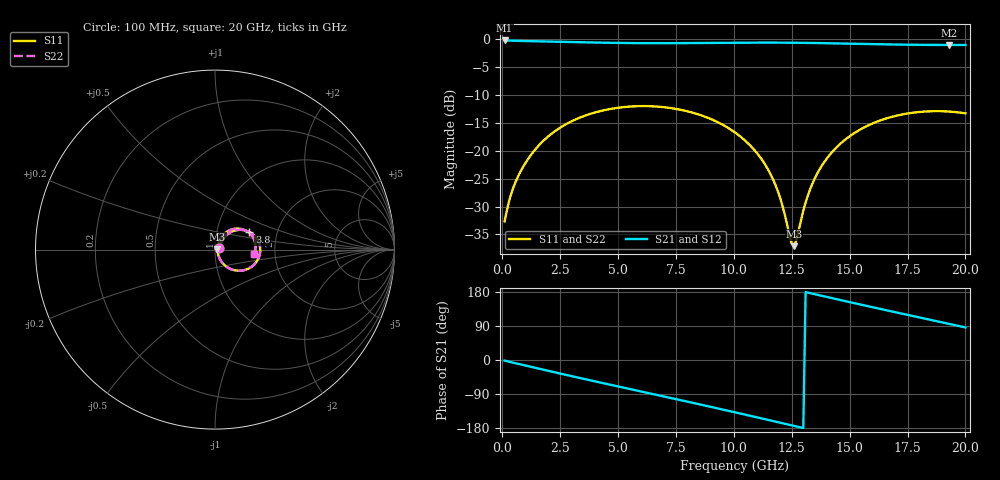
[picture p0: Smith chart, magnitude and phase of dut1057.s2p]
! Touchstone file exported from HFSS 2026.1.0
!  File:  C:/ffzhzh/LocalFiles/Ansys_Project_Files/temp_train_TSV_RDL_1057_1783297581_38704.aedt
!  Generated:  08:35:19 AM Jul  6, 2026
!  Design:  TSV_RDL
!  Project:  temp_train_TSV_RDL_1057_1783297581_38704
! Variables:
!  h_bsmrdl = 2.85um
!  h_ox = 20um
!  h_rdl = 5um
!  h_sub = 52.07um
!  h_tmrdl = 5.79um
!  h_tsv = 52.07um
!  h_via = 3um
!  l_bsmrdl = 980.28um
!  l_sub = 4931.19um
!  l_tmrdl = 362.99um
!  m_sub = 200um
!  pitch = 33.19um
!  r_tsv = 4.89um
!  s_tmrdl = 10um
!  w_bsmrdl = 25.96um
!  w_sub = 500um
!  w_tmrdl = 20.17um
!  x_tsv_center1 = 373.075um
!  x_tsv_center2 = 1379.315um
!  x_tsv_center3 = 1762.475um
!  x_tsv_center4 = 2768.715um
!  x_tsv_center5 = 3151.875um
!  x_tsv_center6 = 4158.115um
# GHz S MA R 50.000000
! Terminal data exported
! Port[1] = TM_RDL1_1_T1
! Port[2] = TM_RDL5_1_T1
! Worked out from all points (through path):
!   200 points, 100 MHz to 20 GHz, reference 50 ohm
!   highest |S21| = -0.19 dB at 100 MHz (marker M1); lowest = -1.0 dB at 19.3 GHz (marker M2)
!   group delay of S21, straight-line fit = 38 ps
!   lowest |S11| = -37.1 dB at 12.6 GHz (marker M3), VSWR 1.03, Z = 51.4 + j0.163 ohm
!   |S11| at or under -10 dB: start of sweep to end of sweep
!   |S22| runs from -37.2 to -12.0 dB; largest |S21 - S12| = 1.6e-14
!   S11 on the Smith chart (normalised r, x): 100 MHz: 1.04, +0.02; 3.8 GHz: 1.44, +0.30; 20 GHz: 1.55, -0.09
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0.1  0.02329 22.8  0.9787 -1.6  0.9787 -1.6  0.02329 22.8
! Gamma 0 0 0 0
! Port Impedance 50 0 50 0
0.5  0.04818 48.0  0.9719 -7.5  0.9719 -7.5  0.04818 48.0
1.3  0.09568 52.0  0.9643 -18.9  0.9643 -18.9  0.09568 52.0
2.3  0.1514 44.2  0.9544 -33.0  0.9544 -33.0  0.1514 44.2
3.5  0.2043 30.7  0.9419 -49.6  0.9419 -49.6  0.2043 30.7
3.8  0.2146 27.2  0.9391 -53.7  0.9391 -53.7  0.2146 27.1
5.3  0.2476 8.9  0.9284 -73.8  0.9284 -73.8  0.2477 8.9
6.8  0.2485 -9.7  0.925 -93.8  0.925 -93.8  0.2485 -9.7
8.4  0.2145 -29.5  0.9285 -115.4  0.9285 -115.4  0.2145 -29.6
10.1  0.1437 -50.1  0.9346 -138.8  0.9346 -138.8  0.1437 -50.2
11  0.09535 -59.3  0.9364 -151.3  0.9364 -151.3  0.0953 -59.5
11.6  0.06079 -62.6  0.9363 -159.8  0.9363 -159.8  0.06073 -62.8
12  0.03772 -59.6  0.9356 -165.4  0.9356 -165.4  0.03763 -59.9
12.5  0.01463 -16.5  0.934 -172.5  0.934 -172.5  0.01444 -16.7
12.6  0.01394 6.5  0.9335 -173.9  0.9335 -173.9  0.01375 6.7
13.1  0.03445 60.2  0.9309 179.1  0.9309 179.1  0.0344 60.5
13.4  0.05115 64.2  0.929 174.9  0.929 174.9  0.05113 64.4
14  0.08446 62.5  0.9246 166.5  0.9246 166.5  0.08446 62.5
14.7  0.1208 56.1  0.9186 156.9  0.9186 156.9  0.1208 56.1
16.7  0.1985 32.9  0.9013 129.7  0.9013 129.7  0.1986 32.9
19.3  0.2252 1.4  0.8915 95.2  0.8915 95.2  0.2253 1.3
20  0.217 -7.1  0.8921 85.9  0.8921 85.9  0.2171 -7.2
